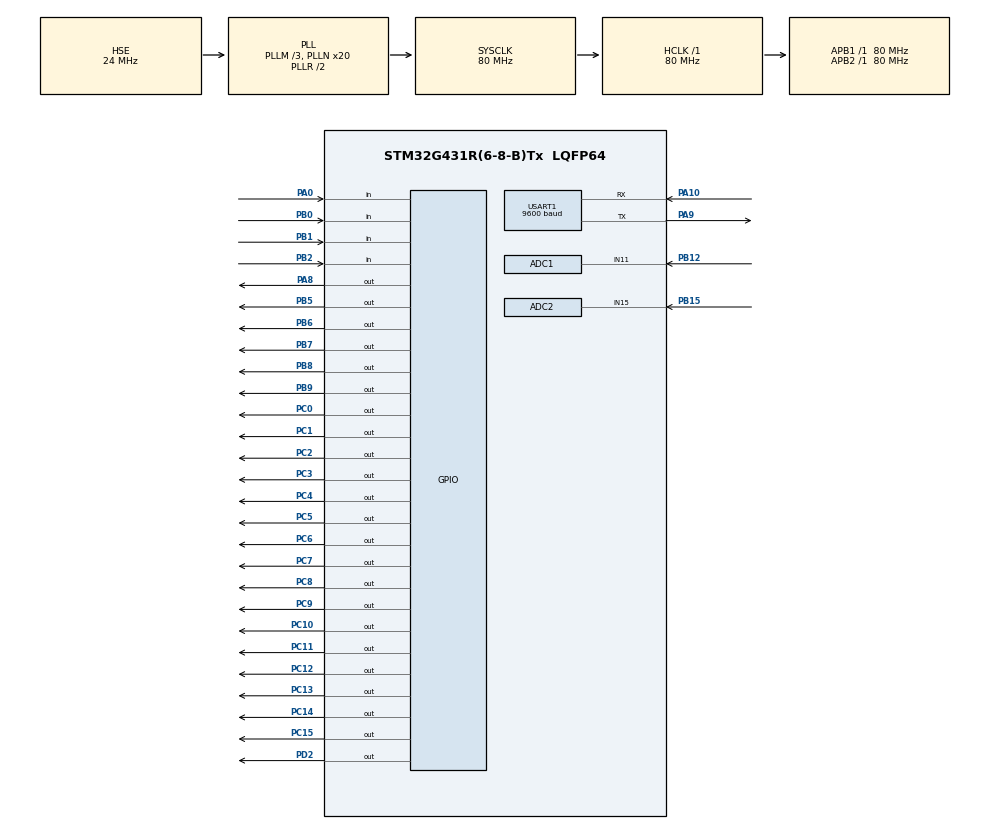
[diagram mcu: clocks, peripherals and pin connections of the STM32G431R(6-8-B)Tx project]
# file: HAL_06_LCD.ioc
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ADC1.Channel-0\#ChannelRegularConversion=ADC_CHANNEL_11
ADC1.NbrOfConversionFlag=1
ADC1.OffsetNumber-0\#ChannelRegularConversion=ADC_OFFSET_NONE
ADC1.Rank-0\#ChannelRegularConversion=1
ADC1.SamplingTime-0\#ChannelRegularConversion=ADC_SAMPLETIME_2CYCLES_5
ADC1.master=1
ADC2.Channel-1\#ChannelRegularConversion=ADC_CHANNEL_15
ADC2.NbrOfConversionFlag=1
ADC2.OffsetNumber-1\#ChannelRegularConversion=ADC_OFFSET_NONE
ADC2.Rank-1\#ChannelRegularConversion=1
ADC2.SamplingTime-1\#ChannelRegularConversion=ADC_SAMPLETIME_2CYCLES_5
Mcu.Family=STM32G4
Mcu.Name=STM32G431R(6-8-B)Tx
Mcu.Package=LQFP64
NVIC.PriorityGroup=NVIC_PRIORITYGROUP_4
NVIC.TIM1_BRK_TIM15_IRQn=true\:1\:0\:true\:false\:true\:true\:true\:true
NVIC.TIM3_IRQn=true\:2\:0\:true\:false\:true\:true\:true\:true
NVIC.USART1_IRQn=true\:0\:0\:false\:false\:true\:true\:true\:true
PA0.Signal=GPIO_Input
PA10.Mode=Asynchronous
PA10.Signal=USART1_RX
PA13.Mode=Serial_Wire
PA13.Signal=SYS_JTMS-SWDIO
PA14.Mode=Serial_Wire
PA14.Signal=SYS_JTCK-SWCLK
PA8.Signal=GPIO_Output
PA9.Mode=Asynchronous
PA9.Signal=USART1_TX
PB0.Signal=GPIO_Input
PB1.Signal=GPIO_Input
PB12.Mode=IN11-Single-Ended
PB12.Signal=ADC1_IN11
PB15.Mode=IN15-Single-Ended
PB15.Signal=ADC2_IN15
PB2.Signal=GPIO_Input
PB5.Signal=GPIO_Output
PB6.Signal=GPIO_Output
PB7.Signal=GPIO_Output
PB8-BOOT0.Signal=GPIO_Output
PB9.Signal=GPIO_Output
PC0.Signal=GPIO_Output
PC1.Signal=GPIO_Output
PC10.Signal=GPIO_Output
PC11.Signal=GPIO_Output
PC12.Signal=GPIO_Output
PC13.Signal=GPIO_Output
PC14-OSC32_IN.Signal=GPIO_Output
PC15-OSC32_OUT.Signal=GPIO_Output
PC2.Signal=GPIO_Output
PC3.Signal=GPIO_Output
PC4.Signal=GPIO_Output
PC5.Signal=GPIO_Output
PC6.Signal=GPIO_Output
PC7.Signal=GPIO_Output
PC8.Signal=GPIO_Output
PC9.Signal=GPIO_Output
PD2.Signal=GPIO_Output
PF0-OSC_IN.Mode=HSE-External-Oscillator
PF0-OSC_IN.Signal=RCC_OSC_IN
PF1-OSC_OUT.Mode=HSE-External-Oscillator
PF1-OSC_OUT.Signal=RCC_OSC_OUT
ProjectManager.HeapSize=0x200
ProjectManager.StackSize=0x400
ProjectManager.TargetToolchain=MDK-ARM V5.27
RCC.ADC12Freq_Value=80000000
RCC.AHBFreq_Value=80000000
RCC.APB1Freq_Value=80000000
RCC.APB1TimFreq_Value=80000000
RCC.APB2Freq_Value=80000000
RCC.APB2TimFreq_Value=80000000
RCC.CortexFreq_Value=80000000
RCC.EXTERNAL_CLOCK_VALUE=12288000
RCC.HCLKFreq_Value=80000000
RCC.HSE_VALUE=24000000
RCC.HSI48_VALUE=48000000
RCC.HSI_VALUE=16000000
RCC.LSE_VALUE=32768
RCC.PLLM=RCC_PLLM_DIV3
RCC.PLLN=20
RCC.PLLSourceVirtual=RCC_PLLSOURCE_HSE
RCC.SYSCLKFreq_VALUE=80000000
RCC.SYSCLKSource=RCC_SYSCLKSOURCE_PLLCLK
RCC.USBFreq_Value=80000000
RCC.VCOOutputFreq_Value=160000000
TIM15.AutoReloadPreload=TIM_AUTORELOAD_PRELOAD_ENABLE
TIM15.PeriodNoDither=1000-1
TIM15.Prescaler=80-1
TIM3.AutoReloadPreload=TIM_AUTORELOAD_PRELOAD_ENABLE
TIM3.PeriodNoDither=10000-1
TIM3.Prescaler=8000-1
USART1.BaudRate=9600
USART1.VirtualMode-Asynchronous=VM_ASYNC
VP_SYS_VS_DBSignals.Mode=DisableDeadBatterySignals
VP_TIM15_VS_ClockSourceINT.Mode=Internal
VP_TIM3_VS_ClockSourceINT.Mode=Internal
board=custom

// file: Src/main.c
/* USER CODE BEGIN Header */
/**
  ******************************************************************************
  * @file           : main.c
  * @brief          : Main program body
  ******************************************************************************
  * @attention
  *
  * <h2><center>&copy; Copyright (c) 2021 STMicroelectronics.
  * All rights reserved.</center></h2>
  *
  * This software component is licensed by ST under BSD 3-Clause license,
  * the "License"; You may not use this file except in compliance with the
  * License. You may obtain a copy of the License at:
  *                        opensource.org/licenses/BSD-3-Clause
  *
  ******************************************************************************
  */
/* USER CODE END Header */
#include "main.h"
#include "adc.h"
#include "tim.h"
#include "usart.h"
#include "gpio.h"

/* USER CODE BEGIN Includes */

#include "stdio.h"
#include "string.h"
#include "i2c_hal.h"

/* USER CODE END Includes */

/* USER CODE BEGIN PTD */
struct KEY{
	_Bool single_flag;
	_Bool key_sta;
	int key_judge;
	int key_number;
}key[4]={0,0,0,0};
/* USER CODE END PTD */

/* USER CODE BEGIN PD */
#define filter_N 0.8
#define K 30.35
double adc_vaule=0.0f;
double last_adc_vaule=0.0f;

/* USER CODE END PD */

/* USER CODE BEGIN PM */
char lcd_text[20];
char tx_data[20];
char rx_data[20];
uint8_t PData=0;
/* USER CODE END PM */

/* USER CODE BEGIN PV */
int Height=0;

int H_limit=70;
int M_limit=50;
int L_limit=30;

int H_limit_temp=0;
int M_limit_temp=0;
int L_limit_temp=0;

_Bool tranform_limit_flag=0;

int liquid_level=0;
int last_liquid_level=0;

int led0_time=0;
int led1_time=0;
int led2_time=0;

_Bool led1_flag=0;
_Bool led2_flag=0;

int modify_limit=0;

int delay_key_num=0;
int text_flag=0;
int switch_lcd_flag=0;
/* USER CODE END PV */

void SystemClock_Config(void);

/* USER CODE BEGIN 0 */
void adc_get(){
	uint32_t data=0;
	HAL_ADC_Start(&hadc2);
	HAL_ADC_PollForConversion(&hadc2,100);
	if(HAL_IS_BIT_SET(HAL_ADC_GetState(&hadc2),HAL_ADC_STATE_REG_EOC))
	{
	 data=HAL_ADC_GetValue(&hadc2);
	}
	adc_vaule=(float)(data*3.3/4096);
	adc_vaule=adc_vaule*filter_N+last_adc_vaule*(1-filter_N);
	last_adc_vaule=adc_vaule;
}
void led_off(){
	HAL_GPIO_WritePin(GPIOD, GPIO_PIN_2, GPIO_PIN_SET);
	HAL_GPIO_WritePin(GPIOC, GPIO_PIN_13|GPIO_PIN_14|GPIO_PIN_15|GPIO_PIN_11|GPIO_PIN_12, GPIO_PIN_SET);
	HAL_GPIO_WritePin(GPIOD, GPIO_PIN_2, GPIO_PIN_RESET);
}
void led_display(GPIO_TypeDef *GPIOx, uint16_t GPIO_Pin, GPIO_PinState PinState){
	HAL_GPIO_WritePin(GPIOD, GPIO_PIN_2, GPIO_PIN_SET);
	HAL_GPIO_WritePin(GPIOx, GPIO_Pin, PinState);
	HAL_GPIO_WritePin(GPIOD, GPIO_PIN_2, GPIO_PIN_RESET);
}
void led_proc(){
	if(led0_time<=1000)
		led_display(GPIOC,GPIO_PIN_8,GPIO_PIN_RESET);
	else if(led0_time<=2000&&led0_time>1000)
		led_display(GPIOC,GPIO_PIN_8,GPIO_PIN_SET);
	else if(led0_time>2000)
		led0_time=0;

	//////led1
	if(led1_flag==1)
	{
		if(led1_time<=200)
			led_display(GPIOC,GPIO_PIN_9,GPIO_PIN_RESET);
		else if(led1_time<=400&&led1_time>200)
			led_display(GPIOC,GPIO_PIN_9,GPIO_PIN_SET);

		else if(led1_time<=600&&led1_time>400)
		led_display(GPIOC,GPIO_PIN_9,GPIO_PIN_RESET);
		else if(led1_time<=800&&led1_time>600)
			led_display(GPIOC,GPIO_PIN_9,GPIO_PIN_SET);

		else if(led1_time<=1000&&led1_time>800)
			led_display(GPIOC,GPIO_PIN_9,GPIO_PIN_RESET);
		else if(led1_time<=1200&&led1_time>1000)
			led_display(GPIOC,GPIO_PIN_9,GPIO_PIN_SET);

		else if(led1_time<=1400&&led1_time>1200)
			led_display(GPIOC,GPIO_PIN_9,GPIO_PIN_RESET);
		else if(led1_time<=1600&&led1_time>1400)
			led_display(GPIOC,GPIO_PIN_9,GPIO_PIN_SET);

		else if(led1_time<=1800&&led1_time>1600)
		led_display(GPIOC,GPIO_PIN_9,GPIO_PIN_RESET);
		else if(led1_time<=2000&&led1_time>1800)
			led_display(GPIOC,GPIO_PIN_9,GPIO_PIN_SET);
		else if(led1_time>2000)
		{
			led_display(GPIOC,GPIO_PIN_9,GPIO_PIN_SET);
			led1_flag=0;
		}
	}
	else
	{
		led_display(GPIOC,GPIO_PIN_9,GPIO_PIN_SET);
	}

	/////////led2
	if(led2_flag==1)
	{
		if(led2_time<=200)
			led_display(GPIOC,GPIO_PIN_10,GPIO_PIN_RESET);
		else if(led2_time<=400&&led2_time>200)
			led_display(GPIOC,GPIO_PIN_10,GPIO_PIN_SET);

		else if(led2_time<=600&&led2_time>400)
		led_display(GPIOC,GPIO_PIN_10,GPIO_PIN_RESET);
		else if(led2_time<=800&&led2_time>600)
			led_display(GPIOC,GPIO_PIN_10,GPIO_PIN_SET);

		else if(led2_time<=1000&&led2_time>800)
			led_display(GPIOC,GPIO_PIN_10,GPIO_PIN_RESET);
		else if(led2_time<=1200&&led2_time>1000)
			led_display(GPIOC,GPIO_PIN_10,GPIO_PIN_SET);

		else if(led2_time<=1400&&led2_time>1200)
			led_display(GPIOC,GPIO_PIN_10,GPIO_PIN_RESET);
		else if(led2_time<=1600&&led2_time>1400)
			led_display(GPIOC,GPIO_PIN_10,GPIO_PIN_SET);

		else if(led2_time<=1800&&led2_time>1600)
		led_display(GPIOC,GPIO_PIN_10,GPIO_PIN_RESET);
		else if(led2_time<=2000&&led2_time>1800)
			led_display(GPIOC,GPIO_PIN_10,GPIO_PIN_SET);
		else if(led2_time>2000)
		{
			led_display(GPIOC,GPIO_PIN_10,GPIO_PIN_SET);
			led2_flag=0;
		}
	}
	else
	{
		led_display(GPIOC,GPIO_PIN_10,GPIO_PIN_SET);
	}
}

void detact_liquid(){
	Height=(int)(adc_vaule*K);
	if(Height<=L_limit)
	{
		liquid_level=0;
	}
	else if(Height>L_limit&&Height<=M_limit)
	{
		liquid_level=1;
	}
	else if(Height>M_limit&&Height<=H_limit)
	{
		liquid_level=2;
	}
	else if(Height>H_limit)
	{
		liquid_level=3;
	}

	if(liquid_level-last_liquid_level>0)///up
	{
		delay_key_num++;
		sprintf(tx_data,"A:H%d+L%d+U\r\n",Height,liquid_level);
		HAL_UART_Transmit(&huart1, (uint8_t *)tx_data, strlen(tx_data),100);
		if(delay_key_num>1)
		led1_flag=1;
	}
	else if(liquid_level-last_liquid_level<0)//down
	{
		delay_key_num++;
		sprintf(tx_data,"A:H%d+L%d+D\r\n",Height,liquid_level);
		HAL_UART_Transmit(&huart1, (uint8_t *)tx_data, strlen(tx_data),100);
		if(delay_key_num>1)
			led1_flag=1;
	}
	last_liquid_level=liquid_level;

}

void key_proc(){
	if(key[0].single_flag==1)
	{
		key[0].key_number++;
		key[0].single_flag=0;

		if(key[0].key_number%2!=0)
		{
			 H_limit_temp=H_limit;
			 M_limit_temp=M_limit;
			 L_limit_temp=L_limit;
		}
		if((key[0].key_number%2==0)&&tranform_limit_flag==1)//////添加eeprom
		{
			H_limit=H_limit_temp;
			M_limit=M_limit_temp;
			L_limit=L_limit_temp;

			write_eeprom(0x01,H_limit);
			HAL_Delay(10);
			write_eeprom(0x02,M_limit);
			HAL_Delay(10);
			write_eeprom(0x03,L_limit);
			HAL_Delay(10);

			tranform_limit_flag=0;
		}
	}

	////B1
	else if(key[1].single_flag==1&&key[0].key_number%2!=0)
	{
		key[1].key_number++;
		switch(key[1].key_number%3)
		{
			case 0:
			{
				modify_limit=0;
			}break;
			case 1:
			{
				modify_limit=1;
			}break;
			case 2:
			{
				modify_limit=2;
			}break;
		}
		tranform_limit_flag=1;
		key[1].single_flag=0;
	}
	else if(key[1].single_flag==1)
	{
		key[1].single_flag=0;
	}

	///B2
	else if(key[2].single_flag==1&&key[0].key_number%2!=0)
	{
		switch(modify_limit)
		{
			case 0:
			{
				if(L_limit_temp<95)
					L_limit_temp+=5;
			}break;
			case 1:
			{
				if(M_limit_temp<95)
					M_limit_temp+=5;
			}break;
			case 2:
			{
				if(H_limit_temp<95)
					H_limit_temp+=5;
			}break;
		};
		tranform_limit_flag=1;
		key[2].single_flag=0;
	}
	else if(key[2].single_flag==1)
	{
		key[2].single_flag=0;
	}

	///B3
	else if(key[3].single_flag==1&&key[0].key_number%2!=0)
	{
		switch(modify_limit)
		{
			case 0:
			{
				if(L_limit_temp>5)
					L_limit_temp-=5;
			}break;
			case 1:
			{
				if(M_limit_temp>5)
					M_limit_temp-=5;
			}break;
			case 2:
			{
				if(H_limit_temp>5)
					H_limit_temp-=5;
			}break;
		};
		tranform_limit_flag=1;
		key[3].single_flag=0;
	}
	else if(key[3].single_flag==1)
	{
		key[3].single_flag=0;
	}
}

void lcd_dispaly(){
	if(key[0].key_number%2==0)
	{
		if(switch_lcd_flag==0)
		{
			LCD_Clear(White);
			switch_lcd_flag=1;
		}
		/////第2行
		LCD_SetTextColor(Black);
		sprintf(lcd_text,"   Liquid Level       ");
		LCD_DisplayStringLine(Line2 ,(unsigned char *)lcd_text);
		/////第3行
		LCD_SetTextColor(Black);
		sprintf(lcd_text,"  Height:%dcm       ",Height);
		LCD_DisplayStringLine(Line3 ,(unsigned char *)lcd_text);
		/////第4行
		LCD_SetTextColor(Black);
		sprintf(lcd_text,"  ADC:%.2fV       ",adc_vaule);
		LCD_DisplayStringLine(Line4 ,(unsigned char *)lcd_text);
		/////第5行
		LCD_SetTextColor(Black);
		sprintf(lcd_text,"  Level:%d       ",liquid_level);
		LCD_DisplayStringLine(Line5 ,(unsigned char *)lcd_text);

		//////////////////////测试
		/////第3行
		LCD_SetTextColor(Black);
		sprintf(lcd_text,"  Threshold1:%dcm       ",L_limit);
		LCD_DisplayStringLine(Line7 ,(unsigned char *)lcd_text);
		/////第4行
		LCD_SetTextColor(Black);
		sprintf(lcd_text,"  Threshold2:%dcm       ",M_limit);
		LCD_DisplayStringLine(Line8 ,(unsigned char *)lcd_text);
		/////第5行
		LCD_SetTextColor(Black);
		sprintf(lcd_text,"  Threshold3:%dcm       ",H_limit);
		LCD_DisplayStringLine(Line9 ,(unsigned char *)lcd_text);
	}
	else
	{
		if(switch_lcd_flag==1)
		{
			LCD_Clear(White);
			switch_lcd_flag=0;
		}
		LCD_SetTextColor(Black);
		sprintf(lcd_text,"   Parameter Setup       ");
		LCD_DisplayStringLine(Line2 ,(unsigned char *)lcd_text);

		switch(modify_limit)
		{
			case 0:
			{
				/////第3行
				LCD_SetTextColor(Blue);
				sprintf(lcd_text,"  Threshold1:%dcm       ",L_limit_temp);
				LCD_DisplayStringLine(Line3 ,(unsigned char *)lcd_text);
				/////第4行
				LCD_SetTextColor(Black);
				sprintf(lcd_text,"  Threshold2:%dcm       ",M_limit_temp);
				LCD_DisplayStringLine(Line4 ,(unsigned char *)lcd_text);
				/////第5行
				LCD_SetTextColor(Black);
				sprintf(lcd_text,"  Threshold3:%dcm       ",H_limit_temp);
				LCD_DisplayStringLine(Line5 ,(unsigned char *)lcd_text);
			}break;
			case 1:
			{
				/////第3行
				LCD_SetTextColor(Black);
				sprintf(lcd_text,"  Threshold1:%dcm       ",L_limit_temp);
				LCD_DisplayStringLine(Line3 ,(unsigned char *)lcd_text);
				/////第4行
				LCD_SetTextColor(Blue);
				sprintf(lcd_text,"  Threshold2:%dcm       ",M_limit_temp);
				LCD_DisplayStringLine(Line4 ,(unsigned char *)lcd_text);
				/////第5行
				LCD_SetTextColor(Black);
				sprintf(lcd_text,"  Threshold3:%dcm       ",H_limit_temp);
				LCD_DisplayStringLine(Line5 ,(unsigned char *)lcd_text);
			}break;
			case 2:
			{
				/////第3行
				LCD_SetTextColor(Black);
				sprintf(lcd_text,"  Threshold1:%dcm       ",L_limit_temp);
				LCD_DisplayStringLine(Line3 ,(unsigned char *)lcd_text);
				/////第4行
				LCD_SetTextColor(Black);
				sprintf(lcd_text,"  Threshold2:%dcm       ",M_limit_temp);
				LCD_DisplayStringLine(Line4 ,(unsigned char *)lcd_text);
				/////第5行
				LCD_SetTextColor(Blue);
				sprintf(lcd_text,"  Threshold3:%dcm       ",H_limit_temp);
				LCD_DisplayStringLine(Line5 ,(unsigned char *)lcd_text);
			}break;
		}
	}

}

/* USER CODE END 0 */

int main(void)
{

  /* MCU Configuration--------------------------------------------------------*/

  /* Reset of all peripherals, Initializes the Flash interface and the Systick. */
  HAL_Init();

  /* Configure the system clock */
  SystemClock_Config();

  /* Initialize all configured peripherals */
  MX_GPIO_Init();
  MX_TIM15_Init();
  MX_USART1_UART_Init();
  MX_TIM3_Init();
  MX_ADC2_Init();
  MX_ADC1_Init();
  /* USER CODE BEGIN 2 */

	LCD_Init();
	HAL_TIM_Base_Start_IT(&htim3);
	HAL_TIM_Base_Start_IT(&htim15);

	HAL_UART_Receive_IT(&huart1, &PData, 1);
  /* USER CODE END 2 */

  /* Infinite loop */
  /* USER CODE BEGIN WHILE */

	if(read_eeprom(0xff)!=10)
	{
		 H_limit=70;
		 M_limit=50;
		 L_limit=30;
		HAL_Delay(10);
		write_eeprom(0xff,10);
		HAL_Delay(10);
	}
	else
	{
		H_limit=read_eeprom(0x01);
		HAL_Delay(10);
		M_limit=read_eeprom(0x02);
		HAL_Delay(10);
		L_limit=read_eeprom(0x03);
		HAL_Delay(10);
		last_adc_vaule=read_eeprom(0x06);
		HAL_Delay(10);
	}
	LCD_Clear(White);
	LCD_SetBackColor(White);
	LCD_SetTextColor(Black);

  while (1)
  {

		led_off();
    /* USER CODE END WHILE */

    /* USER CODE BEGIN 3 */
		key_proc();
		detact_liquid();
		lcd_dispaly();
		led_proc();
  }
  /* USER CODE END 3 */
}

void SystemClock_Config(void)
{
  RCC_OscInitTypeDef RCC_OscInitStruct = {0};
  RCC_ClkInitTypeDef RCC_ClkInitStruct = {0};

  /** Configure the main internal regulator output voltage
  */
  HAL_PWREx_ControlVoltageScaling(PWR_REGULATOR_VOLTAGE_SCALE1);

  /** Initializes the RCC Oscillators according to the specified parameters
  * in the RCC_OscInitTypeDef structure.
  */
  RCC_OscInitStruct.OscillatorType = RCC_OSCILLATORTYPE_HSE;
  RCC_OscInitStruct.HSEState = RCC_HSE_ON;
  RCC_OscInitStruct.PLL.PLLState = RCC_PLL_ON;
  RCC_OscInitStruct.PLL.PLLSource = RCC_PLLSOURCE_HSE;
  RCC_OscInitStruct.PLL.PLLM = RCC_PLLM_DIV3;
  RCC_OscInitStruct.PLL.PLLN = 20;
  RCC_OscInitStruct.PLL.PLLP = RCC_PLLP_DIV2;
  RCC_OscInitStruct.PLL.PLLQ = RCC_PLLQ_DIV2;
  RCC_OscInitStruct.PLL.PLLR = RCC_PLLR_DIV2;
  if (HAL_RCC_OscConfig(&RCC_OscInitStruct) != HAL_OK)
  {
    Error_Handler();
  }

  /** Initializes the CPU, AHB and APB buses clocks
  */
  RCC_ClkInitStruct.ClockType = RCC_CLOCKTYPE_HCLK|RCC_CLOCKTYPE_SYSCLK
                              |RCC_CLOCKTYPE_PCLK1|RCC_CLOCKTYPE_PCLK2;
  RCC_ClkInitStruct.SYSCLKSource = RCC_SYSCLKSOURCE_PLLCLK;
  RCC_ClkInitStruct.AHBCLKDivider = RCC_SYSCLK_DIV1;
  RCC_ClkInitStruct.APB1CLKDivider = RCC_HCLK_DIV1;
  RCC_ClkInitStruct.APB2CLKDivider = RCC_HCLK_DIV1;

  if (HAL_RCC_ClockConfig(&RCC_ClkInitStruct, FLASH_LATENCY_2) != HAL_OK)
  {
    Error_Handler();
  }
}

/* USER CODE BEGIN 4 */

void HAL_UART_RxCpltCallback(UART_HandleTypeDef *huart){
	if(huart->Instance==USART1)
	{
		if(PData=='C')
		{
			sprintf(tx_data,"C:H%d+L%d\r\n",Height,liquid_level);
			HAL_UART_Transmit(&huart1, (uint8_t *)tx_data, strlen(tx_data),100);
			led2_flag=1;
		}
		else if(PData=='S')
		{
			sprintf(tx_data,"S:TL%d+TM%d+TH%d\r\n",L_limit,M_limit,H_limit);
			HAL_UART_Transmit(&huart1, (uint8_t *)tx_data, strlen(tx_data),100);
			led2_flag=1;
		}
		HAL_UART_Receive_IT(&huart1, &PData, 1);

	}

}
int key_time=0;
void HAL_TIM_PeriodElapsedCallback(TIM_HandleTypeDef *htim){
	//按键扫描中断
	if(htim->Instance==TIM15)
	{
		led0_time++;

		if(led1_flag==1)
			led1_time++;
		else
			led1_time=0;

		if(led2_flag==1)
			led2_time++;
		else
			led2_time=0;

		if(key_time>=70)
		{
			key[0].key_sta=HAL_GPIO_ReadPin(GPIOB,GPIO_PIN_0);
			key[1].key_sta=HAL_GPIO_ReadPin(GPIOB,GPIO_PIN_1);
			key[2].key_sta=HAL_GPIO_ReadPin(GPIOB,GPIO_PIN_2);
			key[3].key_sta=HAL_GPIO_ReadPin(GPIOA,GPIO_PIN_0);
			for(int i=0;i<4;i++)
			{
				switch(key[i].key_judge)
				{
					case 0:
					{
						if(key[i].key_sta==0)
							key[i].key_judge=1;
					}break;
					case 1:
					{
						if(key[i].key_sta==0)
						{
							key[i].single_flag=1;
						}
						else
							key[i].key_judge=0;
					}break;
				}
			}
			key_time=0;
		}
		else
			key_time++;
	}
	//adc定时中断
	if(htim->Instance==TIM3)
	{
		//text_flag++;
		adc_get();
	}

}
/* USER CODE END 4 */

void Error_Handler(void)
{
}
